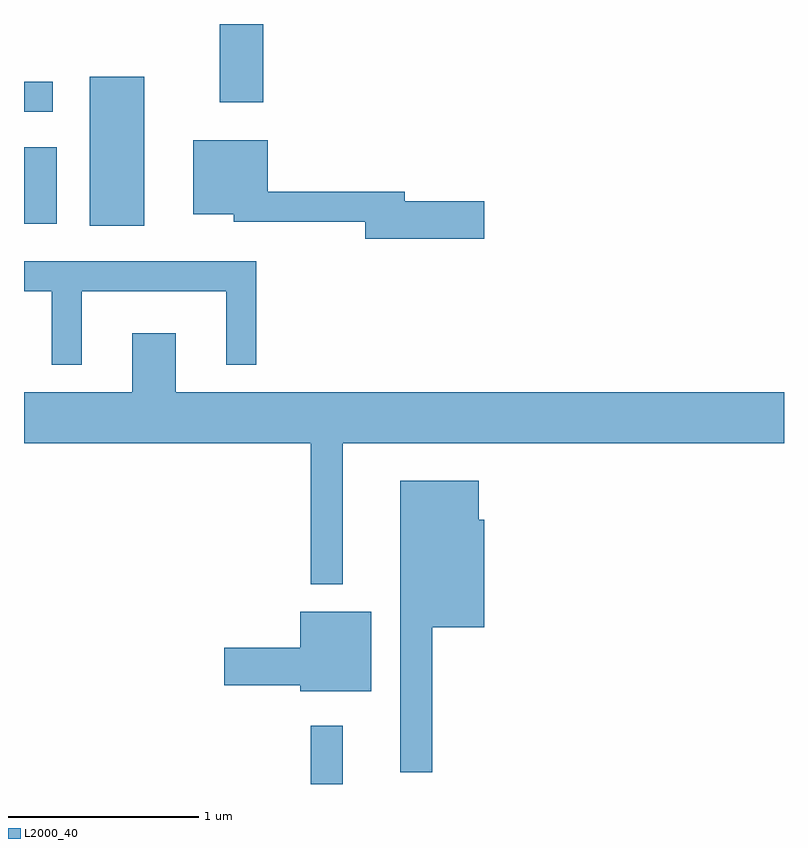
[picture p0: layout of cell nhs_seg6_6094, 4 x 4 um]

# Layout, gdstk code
import gdstk
lib = gdstk.Library(unit=1e-6, precision=1e-09)
def R(c, l, rs):  # rectangles x0, y0, x1, y1
    for r in rs: c.add(gdstk.rectangle(r[:2], r[2:], *l))
def P(c, l, *ps):  # polygons
    for p in ps: c.add(gdstk.Polygon(p, *l))
L2000_40 = (2000, 40)

nhs_seg6_6094 = lib.new_cell('nhs_seg6_6094')
R(nhs_seg6_6094, L2000_40, [(371.121,1628.162,371.289,1628.468), (369.956,1631.101,370.244,1631.884), (369.611,1631.111,369.784,1631.514), (369.611,1631.701,369.763,1631.859), (370.641,1631.751,370.869,1632.162)])
P(nhs_seg6_6094, L2000_40, [(372.034,1631.229),(371.614,1631.229),(371.614,1631.279),(370.894,1631.279),(370.894,1631.549),(370.501,1631.549),(370.501,1631.161),(370.716,1631.161),(370.716,1631.121),(371.406,1631.121),(371.406,1631.031),(372.034,1631.031)],
  [(369.914,1630.756),(370.676,1630.756),(370.676,1630.368),(370.834,1630.368),(370.834,1630.914),(369.611,1630.914),(369.611,1630.756),(369.756,1630.756),(369.756,1630.368),(369.914,1630.368)],
  [(371.289,1629.956),(373.611,1629.956),(373.611,1630.224),(370.409,1630.224),(370.409,1630.534),(370.181,1630.534),(370.181,1630.224),(369.611,1630.224),(369.611,1629.956),(371.121,1629.956),(371.121,1629.213),(371.289,1629.213)],
  [(371.759,1628.986),(372.034,1628.986),(372.034,1629.554),(372.004,1629.554),(372.004,1629.759),(371.591,1629.759),(371.591,1628.223),(371.759,1628.223)],
  [(371.439,1629.069),(371.066,1629.069),(371.066,1628.879),(370.666,1628.879),(370.666,1628.681),(371.066,1628.681),(371.066,1628.651),(371.439,1628.651)])

lib.write_gds('nhs_seg6_6094.gds')
